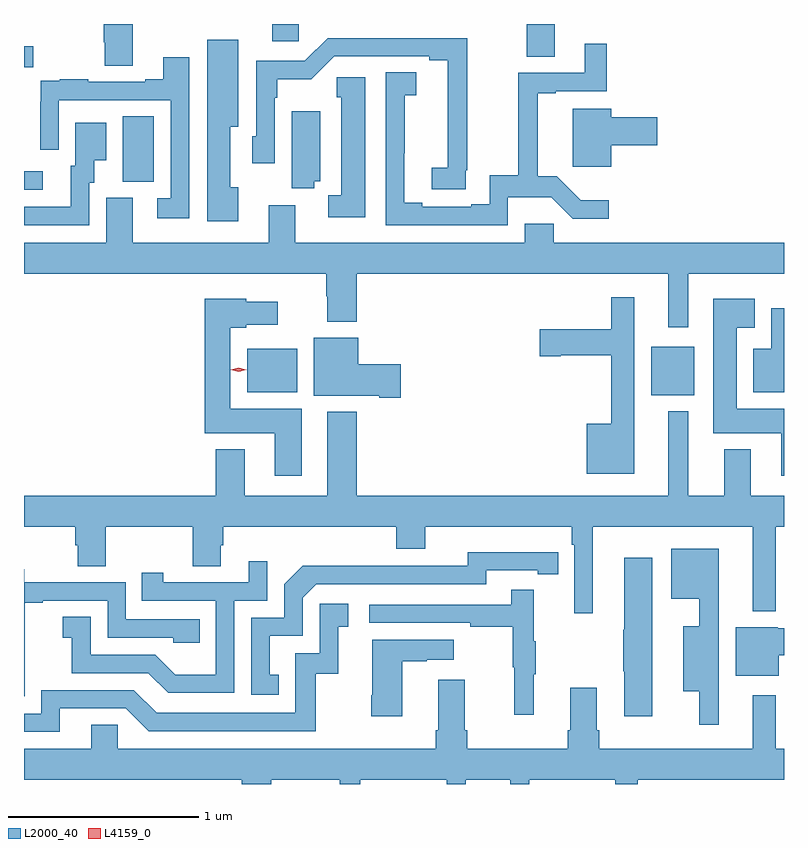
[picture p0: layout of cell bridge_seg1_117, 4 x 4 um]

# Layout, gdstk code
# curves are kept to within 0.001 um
import gdstk
lib = gdstk.Library(unit=1e-6, precision=1e-09)
def R(c, l, rs):  # rectangles x0, y0, x1, y1
    for r in rs: c.add(gdstk.rectangle(r[:2], r[2:], *l))
def P(c, l, *ps):  # polygons
    for p in ps: c.add(gdstk.Polygon(p, *l))
L2000_40 = (2000, 40)
L4159_0 = (4159, 0)

bridge_seg1_117 = lib.new_cell('bridge_seg1_117')
R(bridge_seg1_117, L2000_40, [(243.401,533.777,243.628,534.031), (241.274,533.792,241.537,534.022), (240.1,534.858,240.199,534.954), (240.62,534.901,240.784,535.244), (240.1,535.502,240.148,535.612), (242.746,535.558,242.893,535.73), (241.406,535.638,241.545,535.73)])
P(bridge_seg1_117, L2000_40, [(240.673,535.73),(240.521,535.73),(240.521,535.635),(240.526,535.635),(240.526,535.51),(240.673,535.51)],
  [(242.426,534.961),(242.432,534.961),(242.432,535.656),(241.698,535.656),(241.578,535.536),(241.323,535.536),(241.323,535.14),(241.302,535.14),(241.302,534.996),(241.419,534.996),(241.419,535.343),(241.432,535.343),(241.432,535.439),(241.613,535.439),(241.734,535.56),(242.234,535.56),(242.234,535.54),(242.33,535.54),(242.329,534.974),(242.247,534.974),(242.247,534.859),(242.426,534.859)],
  [(241.228,534.87),(241.186,534.87),(241.186,535.19),(241.228,535.19),(241.228,535.648),(241.064,535.648),(241.064,534.692),(241.228,534.692)],
  [(242.646,534.818),(242.875,534.818),(242.988,534.705),(243.178,534.705),(243.178,534.802),(243.029,534.802),(242.903,534.928),(242.804,534.928),(242.804,535.365),(242.899,535.365),(242.899,535.377),(243.167,535.377),(243.167,535.627),(243.05,535.627),(243.05,535.473),(242.701,535.473),(242.701,534.935),(242.55,534.935),(242.55,534.782),(242.453,534.782),(242.453,534.768),(242.197,534.768),(242.197,534.788),(242.101,534.788),(242.101,535.051),(242.103,535.051),(242.103,535.355),(242.164,535.355),(242.164,535.475),(242.004,535.475),(242.004,534.672),(242.646,534.672)],
  [(240.969,535.555),(240.833,535.555),(240.833,535.438),(240.737,535.438),(240.737,535.425),(240.437,535.425),(240.437,535.438),(240.289,535.438),(240.289,535.431),(240.187,535.431),(240.187,535.322),(240.186,535.322),(240.186,535.068),(240.282,535.068),(240.282,535.329),(240.873,535.329),(240.873,534.813),(240.801,534.813),(240.801,534.708),(240.969,534.708)],
  [(241.897,535.45),(241.747,535.45),(241.747,535.344),(241.769,535.344),(241.769,534.828),(241.701,534.828),(241.701,534.713),(241.897,534.713)],
  [(243.19,535.091),(243.433,535.091),(243.433,535.238),(243.19,535.238),(243.19,535.285),(242.987,535.285),(242.987,534.98),(243.19,534.98)],
  [(241.628,534.902),(241.66,534.902),(241.66,535.27),(241.508,535.27),(241.508,534.865),(241.628,534.865)],
  [(240.444,534.894),(240.469,534.894),(240.469,535.013),(240.532,535.013),(240.532,535.21),(240.371,535.21),(240.371,534.984),(240.347,534.984),(240.347,534.768),(240.1,534.768),(240.1,534.672),(240.444,534.672)],
  [(243.595,534.416),(244.1,534.416),(244.1,534.58),(242.887,534.58),(242.887,534.678),(242.735,534.678),(242.735,534.58),(241.528,534.58),(241.528,534.775),(241.388,534.775),(241.388,534.58),(240.673,534.58),(240.673,534.816),(240.533,534.816),(240.533,534.58),(240.1,534.58),(240.1,534.416),(241.69,534.416),(241.69,534.296),(241.697,534.296),(241.697,534.164),(241.85,534.164),(241.85,534.416),(243.491,534.416),(243.491,534.135),(243.595,534.135)],
  [(243.313,534.292),(243.192,534.292),(243.192,534.123),(242.814,534.123),(242.814,533.981),(242.926,533.981),(242.926,533.986),(243.192,533.986),(243.192,533.626),(243.062,533.626),(243.062,533.363),(243.313,533.363)],
  [(244.1,533.704),(243.85,533.704),(243.85,534.131),(243.946,534.131),(243.946,534.283),(243.728,534.283),(243.728,533.576),(244.085,533.576),(244.085,533.352),(244.1,533.352)],
  [(241.561,533.704),(241.186,533.704),(241.186,534.131),(241.269,534.131),(241.269,534.146),(241.435,534.146),(241.435,534.268),(241.269,534.268),(241.269,534.283),(241.052,534.283),(241.052,533.576),(241.421,533.576),(241.421,533.352),(241.561,533.352)],
  [(244.1,534.235),(244.034,534.235),(244.034,534.022),(243.938,534.022),(243.938,533.792),(244.1,533.792)],
  [(242.083,533.94),(241.858,533.94),(241.858,534.079),(241.625,534.079),(241.625,533.774),(241.97,533.774),(241.97,533.762),(242.083,533.762)],
  [(241.85,533.689),(241.697,533.689),(241.697,533.248),(241.261,533.248),(241.261,533.491),(241.109,533.491),(241.109,533.248),(240.1,533.248),(240.1,533.084),(240.371,533.084),(240.371,532.986),(240.383,532.986),(240.383,532.876),(240.531,532.876),(240.531,533.084),(240.988,533.084),(240.988,532.876),(241.135,532.876),(241.135,532.986),(241.148,532.986),(241.148,533.084),(242.06,533.084),(242.06,532.967),(242.212,532.967),(242.212,533.084),(242.984,533.084),(242.984,532.988),(242.997,532.988),(242.997,532.629),(243.094,532.629),(243.094,533.084),(243.935,533.084),(243.935,532.64),(244.057,532.64),(244.057,533.084),(244.1,533.084),(244.1,533.248),(243.925,533.248),(243.925,533.491),(243.785,533.491),(243.785,533.248),(243.595,533.248),(243.595,533.692),(243.491,533.692),(243.491,533.248),(241.85,533.248)],
  [(243.757,532.969),(243.506,532.969),(243.506,532.706),(243.653,532.706),(243.653,532.561),(243.569,532.561),(243.569,532.217),(243.653,532.217),(243.653,532.041),(243.757,532.041)],
  [(241.442,532.305),(241.393,532.305),(241.393,532.509),(241.566,532.509),(241.566,532.71),(241.638,532.782),(242.532,532.782),(242.532,532.854),(242.804,532.854),(242.804,532.834),(242.912,532.834),(242.912,532.95),(242.436,532.951),(242.436,532.878),(241.976,532.878),(241.976,532.88),(241.568,532.88),(241.47,532.782),(241.47,532.605),(241.296,532.605),(241.296,532.2),(241.442,532.2)],
  [(243.406,532.921),(243.26,532.921),(243.26,532.541),(243.253,532.541),(243.253,532.324),(243.26,532.324),(243.26,532.086),(243.406,532.086)],
  [(241.206,532.695),(241.38,532.695),(241.38,532.903),(241.283,532.903),(241.283,532.791),(240.832,532.791),(240.832,532.843),(240.721,532.843),(240.721,532.695),(241.11,532.695),(241.11,532.306),(240.896,532.306),(240.792,532.41),(240.45,532.41),(240.45,532.609),(240.303,532.609),(240.303,532.499),(240.352,532.499),(240.352,532.314),(240.755,532.314),(240.86,532.209),(241.206,532.209)],
  [(240.105,532.399),(240.104,532.399),(240.104,532.683),(240.199,532.683),(240.199,532.695),(240.54,532.695),(240.54,532.5),(240.885,532.5),(240.885,532.473),(241.025,532.473),(241.025,532.596),(240.636,532.596),(240.636,532.791),(240.102,532.791),(240.102,532.86),(240.1,532.86),(240.1,532.193),(240.105,532.193)],
  [(242.783,532.307),(242.794,532.307),(242.794,532.481),(242.783,532.481),(242.783,532.753),(242.665,532.753),(242.665,532.674),(241.917,532.674),(241.917,532.578),(242.449,532.578),(242.449,532.558),(242.673,532.558),(242.673,532.344),(242.68,532.344),(242.68,532.095),(242.783,532.095)],
  [(240.289,532.128),(240.636,532.128),(240.756,532.008),(241.636,532.008),(241.636,532.311),(241.754,532.311),(241.754,532.557),(241.807,532.557),(241.807,532.678),(241.656,532.678),(241.656,532.419),(241.527,532.419),(241.527,532.104),(240.798,532.104),(240.678,532.224),(240.192,532.224),(240.192,532.101),(240.1,532.101),(240.1,532.005),(240.289,532.005)],
  [(244.072,532.408),(244.1,532.408),(244.1,532.55),(244.068,532.55),(244.068,532.555),(243.845,532.555),(243.845,532.301),(244.072,532.301)],
  [(242.092,532.375),(242.219,532.375),(242.219,532.385),(242.362,532.385),(242.362,532.489),(241.934,532.489),(241.934,532.198),(241.927,532.198),(241.927,532.086),(242.092,532.086)],
  [(243.212,531.73),(243.329,531.73),(243.329,531.752),(244.1,531.752),(244.1,531.916),(244.057,531.916),(244.057,532.198),(243.935,532.198),(243.935,531.916),(243.128,531.916),(243.128,532.012),(243.115,532.012),(243.115,532.237),(242.975,532.237),(242.975,532.012),(242.963,532.012),(242.963,531.916),(242.432,531.916),(242.432,532.012),(242.419,532.012),(242.419,532.279),(242.279,532.279),(242.279,532.012),(242.267,532.012),(242.267,531.916),(240.594,531.916),(240.594,532.043),(240.455,532.043),(240.455,531.916),(240.1,531.916),(240.1,531.752),(241.246,531.752),(241.246,531.73),(241.401,531.73),(241.401,531.752),(241.761,531.752),(241.761,531.73),(241.871,531.73),(241.871,531.752),(242.324,531.752),(242.324,531.73),(242.424,531.73),(242.424,531.752),(242.659,531.752),(242.659,531.73),(242.759,531.73),(242.759,531.752),(243.212,531.752)])
P(bridge_seg1_117, L4159_0, [(241.229,533.9),(241.189,533.91),(241.189,533.91),(241.189,533.91),(241.229,533.92),(241.27,533.91),(241.27,533.91),(241.27,533.91)])

lib.write_gds('bridge_seg1_117.gds')
